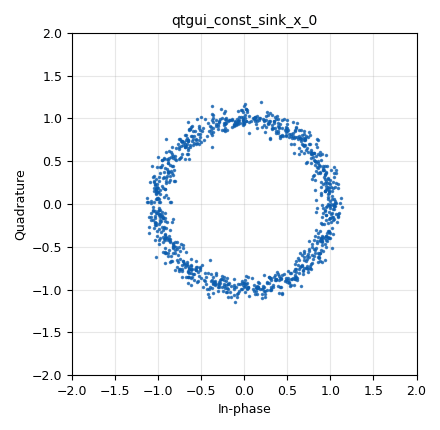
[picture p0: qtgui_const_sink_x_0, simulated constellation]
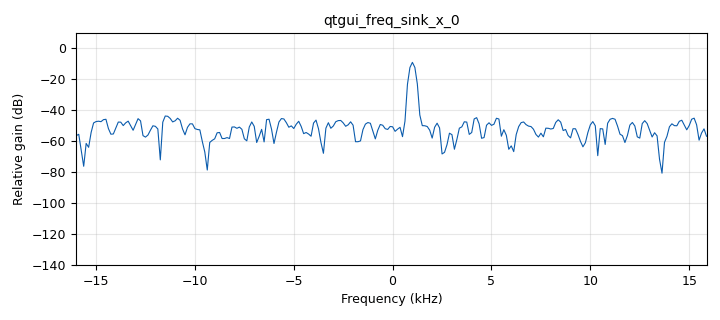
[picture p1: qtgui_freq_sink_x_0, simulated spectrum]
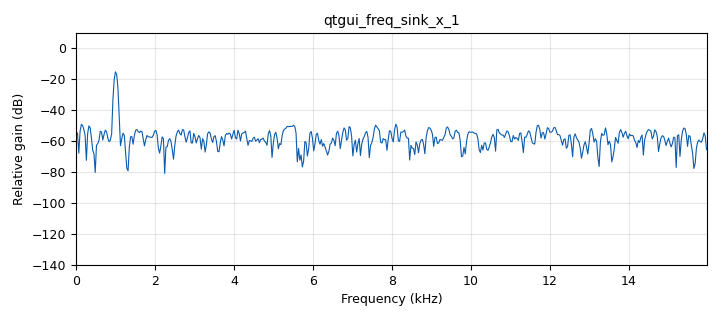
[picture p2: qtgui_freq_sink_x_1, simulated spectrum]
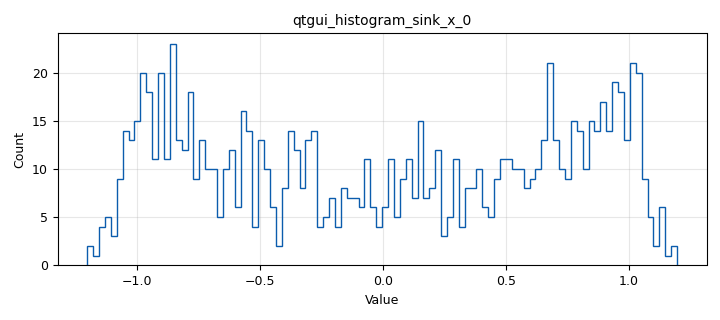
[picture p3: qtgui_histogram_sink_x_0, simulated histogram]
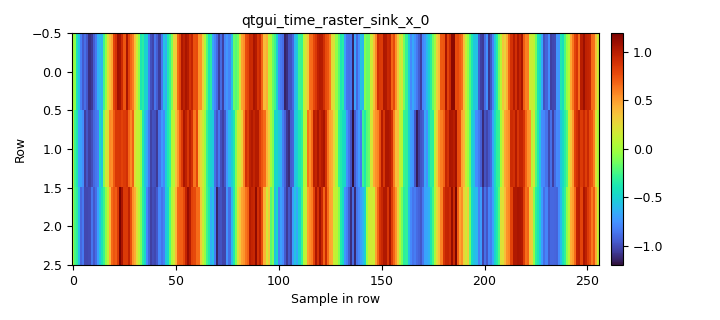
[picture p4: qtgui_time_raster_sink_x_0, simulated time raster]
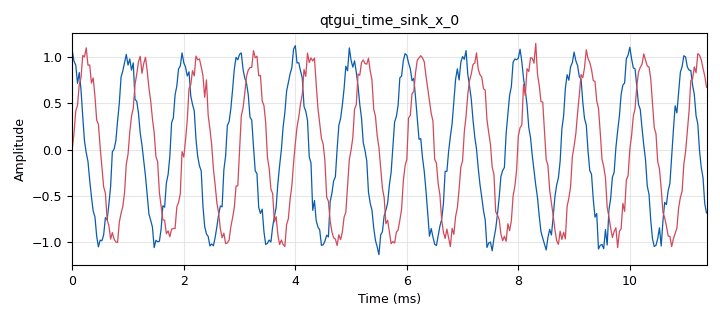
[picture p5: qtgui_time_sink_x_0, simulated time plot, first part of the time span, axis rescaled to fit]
<?xml version='1.0' encoding='utf-8'?>
<?grc format='1' created='3.7.9'?>
<flow_graph>
<block>
<key>options</key>
<param><key>id</key><value>qtgui_message_inputs</value></param>
<param><key>category</key><value>Custom</value></param>
<param><key>generate_options</key><value>qt_gui</value></param>
</block>
<block>
<key>variable</key>
<param><key>id</key><value>fftsize</value></param>
<param><key>value</key><value>256</value></param>
</block>
<block>
<key>variable</key>
<param><key>id</key><value>pkt_len</value></param>
<param><key>value</key><value>1000</value></param>
</block>
<block>
<key>variable</key>
<param><key>id</key><value>samp_rate</value></param>
<param><key>value</key><value>32000</value></param>
</block>
<block>
<key>analog_noise_source_x</key>
<param><key>id</key><value>analog_noise_source_x_0</value></param>
<param><key>amp</key><value>0.1</value></param>
<param><key>noise_type</key><value>analog.GR_GAUSSIAN</value></param>
<param><key>type</key><value>complex</value></param>
<param><key>seed</key><value>0</value></param>
</block>
<block>
<key>analog_noise_source_x</key>
<param><key>id</key><value>analog_noise_source_x_1</value></param>
<param><key>amp</key><value>0.1</value></param>
<param><key>noise_type</key><value>analog.GR_GAUSSIAN</value></param>
<param><key>type</key><value>float</value></param>
<param><key>seed</key><value>0</value></param>
</block>
<block>
<key>analog_sig_source_x</key>
<param><key>id</key><value>analog_sig_source_x_0</value></param>
<param><key>amp</key><value>1</value></param>
<param><key>freq</key><value>1000</value></param>
<param><key>offset</key><value>0</value></param>
<param><key>type</key><value>complex</value></param>
<param><key>samp_rate</key><value>samp_rate</value></param>
<param><key>waveform</key><value>analog.GR_COS_WAVE</value></param>
</block>
<block>
<key>analog_sig_source_x</key>
<param><key>id</key><value>analog_sig_source_x_1</value></param>
<param><key>amp</key><value>1</value></param>
<param><key>freq</key><value>1000</value></param>
<param><key>offset</key><value>0</value></param>
<param><key>type</key><value>float</value></param>
<param><key>samp_rate</key><value>samp_rate</value></param>
<param><key>waveform</key><value>analog.GR_COS_WAVE</value></param>
</block>
<block>
<key>blocks_add_xx</key>
<param><key>id</key><value>blocks_add_xx_0</value></param>
<param><key>type</key><value>complex</value></param>
</block>
<block>
<key>blocks_add_xx</key>
<param><key>id</key><value>blocks_add_xx_1</value></param>
<param><key>type</key><value>float</value></param>
</block>
<block>
<key>blocks_stream_to_tagged_stream</key>
<param><key>id</key><value>blocks_stream_to_tagged_stream_0</value></param>
<param><key>len_tag_key</key><value>"packet_len"</value></param>
<param><key>packet_len</key><value>pkt_len</value></param>
<param><key>type</key><value>complex</value></param>
</block>
<block>
<key>blocks_stream_to_tagged_stream</key>
<param><key>id</key><value>blocks_stream_to_tagged_stream_1</value></param>
<param><key>len_tag_key</key><value>"packet_len"</value></param>
<param><key>packet_len</key><value>pkt_len</value></param>
<param><key>type</key><value>float</value></param>
</block>
<block>
<key>blocks_tagged_stream_to_pdu</key>
<param><key>id</key><value>blocks_tagged_stream_to_pdu_0</value></param>
<param><key>type</key><value>complex</value></param>
<param><key>tag</key><value>packet_len</value></param>
</block>
<block>
<key>blocks_tagged_stream_to_pdu</key>
<param><key>id</key><value>blocks_tagged_stream_to_pdu_1</value></param>
<param><key>type</key><value>float</value></param>
<param><key>tag</key><value>packet_len</value></param>
</block>
<block>
<key>blocks_throttle</key>
<param><key>id</key><value>blocks_throttle_0</value></param>
<param><key>samples_per_second</key><value>samp_rate</value></param>
<param><key>type</key><value>complex</value></param>
</block>
<block>
<key>blocks_throttle</key>
<param><key>id</key><value>blocks_throttle_1</value></param>
<param><key>samples_per_second</key><value>samp_rate</value></param>
<param><key>type</key><value>float</value></param>
</block>
<block>
<key>pyqt_text_input</key>
<param><key>id</key><value>pyqt_text_input_0</value></param>
</block>
<block>
<key>pyqt_text_output</key>
<param><key>id</key><value>pyqt_text_output_0</value></param>
<param><key>_enabled</key><value>0</value></param>
</block>
<block>
<key>qtgui_const_sink_x</key>
<param><key>id</key><value>qtgui_const_sink_x_0</value></param>
<param><key>gui_hint</key><value>tab@0:1,1,1,1</value></param>
<param><key>legend</key><value>False</value></param>
<param><key>nconnections</key><value>2</value></param>
<param><key>type</key><value>msg_complex</value></param>
</block>
<block>
<key>qtgui_freq_sink_x</key>
<param><key>id</key><value>qtgui_freq_sink_x_0</value></param>
<param><key>bw</key><value>samp_rate</value></param>
<param><key>fc</key><value>0</value></param>
<param><key>fftsize</key><value>fftsize</value></param>
<param><key>gui_hint</key><value>tab@0:1,0,1,1</value></param>
<param><key>legend</key><value>False</value></param>
<param><key>label2</key><value></value></param>
<param><key>nconnections</key><value>2</value></param>
<param><key>showports</key><value>True</value></param>
<param><key>type</key><value>msg_complex</value></param>
<param><key>update_time</key><value>0.50</value></param>
<param><key>wintype</key><value>firdes.WIN_BLACKMAN_hARRIS</value></param>
</block>
<block>
<key>qtgui_freq_sink_x</key>
<param><key>id</key><value>qtgui_freq_sink_x_1</value></param>
<param><key>bw</key><value>samp_rate</value></param>
<param><key>fc</key><value>0</value></param>
<param><key>fftsize</key><value>fftsize*4</value></param>
<param><key>gui_hint</key><value>tab@1:1,0,1,1</value></param>
<param><key>legend</key><value>False</value></param>
<param><key>label2</key><value></value></param>
<param><key>nconnections</key><value>2</value></param>
<param><key>showports</key><value>True</value></param>
<param><key>freqhalf</key><value>False</value></param>
<param><key>type</key><value>msg_float</value></param>
<param><key>update_time</key><value>0.50</value></param>
<param><key>wintype</key><value>firdes.WIN_BLACKMAN_hARRIS</value></param>
</block>
<block>
<key>qtgui_histogram_sink_x</key>
<param><key>id</key><value>qtgui_histogram_sink_x_0</value></param>
<param><key>gui_hint</key><value>tab@2:1,0,1,1</value></param>
<param><key>grid</key><value>True</value></param>
<param><key>legend</key><value>False</value></param>
<param><key>color1</key><value>"dark red"</value></param>
<param><key>xmax</key><value>1</value></param>
<param><key>xmin</key><value>-1</value></param>
<param><key>bins</key><value>100</value></param>
<param><key>nconnections</key><value>2</value></param>
<param><key>type</key><value>msg_float</value></param>
<param><key>update_time</key><value>0.50</value></param>
</block>
<block>
<key>qtgui_time_raster_sink_x</key>
<param><key>id</key><value>qtgui_time_raster_sink_x_0</value></param>
<param><key>gui_hint</key><value>tab@2:0,0,1,1</value></param>
<param><key>ncols</key><value>256</value></param>
<param><key>nrows</key><value>50</value></param>
<param><key>nconnections</key><value>2</value></param>
<param><key>samp_rate</key><value>samp_rate</value></param>
<param><key>type</key><value>msg_float</value></param>
<param><key>update_time</key><value>0.50</value></param>
</block>
<block>
<key>qtgui_time_raster_sink_x</key>
<param><key>id</key><value>qtgui_time_raster_sink_x_0_0</value></param>
<param><key>gui_hint</key><value>tab@2:0,1,1,1</value></param>
<param><key>color1</key><value>3</value></param>
<param><key>ncols</key><value>256</value></param>
<param><key>nrows</key><value>50</value></param>
<param><key>nconnections</key><value>2</value></param>
<param><key>samp_rate</key><value>samp_rate</value></param>
<param><key>type</key><value>msg_byte</value></param>
<param><key>update_time</key><value>0.50</value></param>
</block>
<block>
<key>qtgui_time_sink_x</key>
<param><key>id</key><value>qtgui_time_sink_x_0</value></param>
<param><key>gui_hint</key><value>tab@0:0,1,1,1</value></param>
<param><key>legend</key><value>False</value></param>
<param><key>color1</key><value>"magenta"</value></param>
<param><key>label1</key><value></value></param>
<param><key>color2</key><value>"red"</value></param>
<param><key>label2</key><value></value></param>
<param><key>nconnections</key><value>2</value></param>
<param><key>srate</key><value>samp_rate</value></param>
<param><key>type</key><value>msg_complex</value></param>
</block>
<block>
<key>qtgui_time_sink_x</key>
<param><key>id</key><value>qtgui_time_sink_x_0_0</value></param>
<param><key>gui_hint</key><value>tab@1:0,1,1,1</value></param>
<param><key>legend</key><value>False</value></param>
<param><key>color1</key><value>"blue"</value></param>
<param><key>label1</key><value></value></param>
<param><key>nconnections</key><value>0</value></param>
<param><key>srate</key><value>samp_rate</value></param>
<param><key>type</key><value>msg_float</value></param>
</block>
<block>
<key>qtgui_waterfall_sink_x</key>
<param><key>id</key><value>qtgui_waterfall_sink_x_0</value></param>
<param><key>bw</key><value>samp_rate</value></param>
<param><key>fc</key><value>0</value></param>
<param><key>fftsize</key><value>fftsize</value></param>
<param><key>gui_hint</key><value>tab@0:0,0,1,1</value></param>
<param><key>nconnections</key><value>3</value></param>
<param><key>showports</key><value>True</value></param>
<param><key>type</key><value>msg_complex</value></param>
<param><key>update_time</key><value>0.50</value></param>
<param><key>wintype</key><value>firdes.WIN_BLACKMAN_hARRIS</value></param>
</block>
<block>
<key>qtgui_waterfall_sink_x</key>
<param><key>id</key><value>qtgui_waterfall_sink_x_1</value></param>
<param><key>bw</key><value>samp_rate</value></param>
<param><key>fc</key><value>0</value></param>
<param><key>fftsize</key><value>fftsize</value></param>
<param><key>gui_hint</key><value>tab@1:0,0,1,1</value></param>
<param><key>nconnections</key><value>2</value></param>
<param><key>showports</key><value>True</value></param>
<param><key>freqhalf</key><value>False</value></param>
<param><key>type</key><value>msg_float</value></param>
<param><key>update_time</key><value>0.50</value></param>
<param><key>wintype</key><value>firdes.WIN_BLACKMAN_hARRIS</value></param>
</block>
<block>
<key>qtgui_tab_widget</key>
<param><key>id</key><value>tab</value></param>
<param><key>label0</key><value>Complex</value></param>
<param><key>label1</key><value>Float</value></param>
<param><key>label2</key><value>Other</value></param>
<param><key>num_tabs</key><value>3</value></param>
</block>
<connection><source_block_id>analog_noise_source_x_0</source_block_id><sink_block_id>blocks_add_xx_0</sink_block_id><source_key>0</source_key><sink_key>0</sink_key></connection>
<connection><source_block_id>analog_noise_source_x_1</source_block_id><sink_block_id>blocks_add_xx_1</sink_block_id><source_key>0</source_key><sink_key>0</sink_key></connection>
<connection><source_block_id>analog_sig_source_x_0</source_block_id><sink_block_id>blocks_add_xx_0</sink_block_id><source_key>0</source_key><sink_key>1</sink_key></connection>
<connection><source_block_id>analog_sig_source_x_1</source_block_id><sink_block_id>blocks_add_xx_1</sink_block_id><source_key>0</source_key><sink_key>1</sink_key></connection>
<connection><source_block_id>blocks_add_xx_0</source_block_id><sink_block_id>blocks_throttle_0</sink_block_id><source_key>0</source_key><sink_key>0</sink_key></connection>
<connection><source_block_id>blocks_add_xx_1</source_block_id><sink_block_id>blocks_throttle_1</sink_block_id><source_key>0</source_key><sink_key>0</sink_key></connection>
<connection><source_block_id>blocks_stream_to_tagged_stream_0</source_block_id><sink_block_id>blocks_tagged_stream_to_pdu_0</sink_block_id><source_key>0</source_key><sink_key>0</sink_key></connection>
<connection><source_block_id>blocks_stream_to_tagged_stream_1</source_block_id><sink_block_id>blocks_tagged_stream_to_pdu_1</sink_block_id><source_key>0</source_key><sink_key>0</sink_key></connection>
<connection><source_block_id>blocks_tagged_stream_to_pdu_0</source_block_id><sink_block_id>qtgui_const_sink_x_0</sink_block_id><source_key>pdus</source_key><sink_key>in</sink_key></connection>
<connection><source_block_id>blocks_tagged_stream_to_pdu_0</source_block_id><sink_block_id>qtgui_freq_sink_x_0</sink_block_id><source_key>pdus</source_key><sink_key>in</sink_key></connection>
<connection><source_block_id>blocks_tagged_stream_to_pdu_0</source_block_id><sink_block_id>qtgui_time_sink_x_0</sink_block_id><source_key>pdus</source_key><sink_key>in</sink_key></connection>
<connection><source_block_id>blocks_tagged_stream_to_pdu_0</source_block_id><sink_block_id>qtgui_waterfall_sink_x_0</sink_block_id><source_key>pdus</source_key><sink_key>in</sink_key></connection>
<connection><source_block_id>blocks_tagged_stream_to_pdu_1</source_block_id><sink_block_id>qtgui_freq_sink_x_1</sink_block_id><source_key>pdus</source_key><sink_key>in</sink_key></connection>
<connection><source_block_id>blocks_tagged_stream_to_pdu_1</source_block_id><sink_block_id>qtgui_histogram_sink_x_0</sink_block_id><source_key>pdus</source_key><sink_key>in</sink_key></connection>
<connection><source_block_id>blocks_tagged_stream_to_pdu_1</source_block_id><sink_block_id>qtgui_time_raster_sink_x_0</sink_block_id><source_key>pdus</source_key><sink_key>in</sink_key></connection>
<connection><source_block_id>blocks_tagged_stream_to_pdu_1</source_block_id><sink_block_id>qtgui_time_sink_x_0_0</sink_block_id><source_key>pdus</source_key><sink_key>in</sink_key></connection>
<connection><source_block_id>blocks_tagged_stream_to_pdu_1</source_block_id><sink_block_id>qtgui_waterfall_sink_x_1</sink_block_id><source_key>pdus</source_key><sink_key>in</sink_key></connection>
<connection><source_block_id>blocks_throttle_0</source_block_id><sink_block_id>blocks_stream_to_tagged_stream_0</sink_block_id><source_key>0</source_key><sink_key>0</sink_key></connection>
<connection><source_block_id>blocks_throttle_1</source_block_id><sink_block_id>blocks_stream_to_tagged_stream_1</sink_block_id><source_key>0</source_key><sink_key>0</sink_key></connection>
<connection><source_block_id>pyqt_text_input_0</source_block_id><sink_block_id>pyqt_text_output_0</sink_block_id><source_key>pdus</source_key><sink_key>pdus</sink_key></connection>
<connection><source_block_id>pyqt_text_input_0</source_block_id><sink_block_id>qtgui_time_raster_sink_x_0_0</sink_block_id><source_key>pdus</source_key><sink_key>in</sink_key></connection>
</flow_graph>
